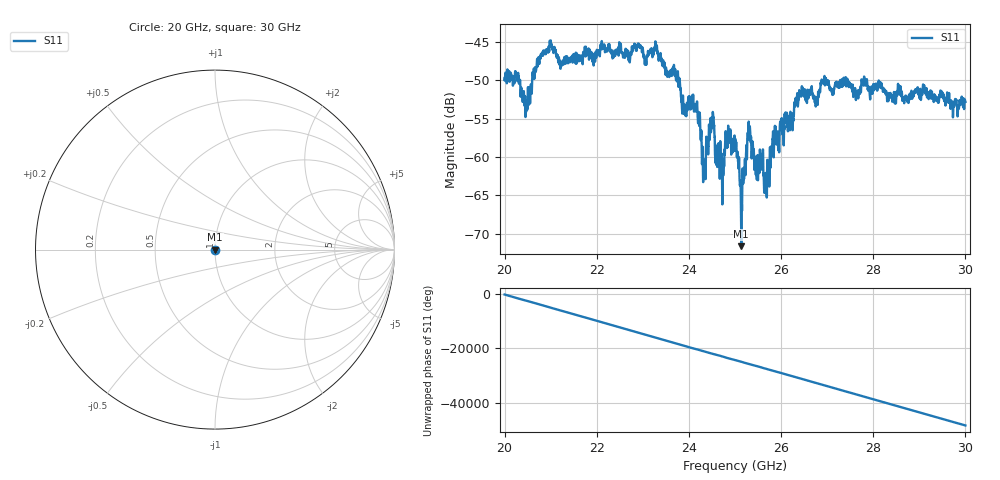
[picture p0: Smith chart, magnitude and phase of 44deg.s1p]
#  HZ  S  RI  R  50.00
! Rohde & Schwarz ZVA40 4Ports - Version 3.90 - 1145.1110k42 SN: 100403
! Date: 2023-10-03 11:55:05
! Measurement: S12
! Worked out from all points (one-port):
!   5001 points, 20 GHz to 30 GHz, reference 50 ohm
!   lowest |S11| = -71.6 dB at 25.14 GHz (marker M1), VSWR 1.00, Z = 50 - j0.0263 ohm
!   |S11| at or under -10 dB: start of sweep to end of sweep
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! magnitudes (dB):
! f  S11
! 20 GHz  -50.0
! 20.27 GHz  -49.5
! 20.48 GHz  -53.0
! 20.83 GHz  -46.8
! 21.02 GHz  -45.4
! 21.25 GHz  -47.8
! 22.5 GHz  -45.8
! 22.93 GHz  -45.5
! 23.06 GHz  -47.9
! 23.28 GHz  -45.5
! 23.75 GHz  -50.2
! 23.9 GHz  -53.5
! 24.19 GHz  -55.0
! 24.32 GHz  -60.8
! 24.5 GHz  -56.3
! 24.71 GHz  -60.0
! 24.84 GHz  -58.5
! 25 GHz  -59.1
! 25.14 GHz  -71.6
! 25.18 GHz  -63.3
! 25.3 GHz  -55.4
! 25.68 GHz  -63.1
! 25.84 GHz  -59.3
! 26.25 GHz  -56.4
! 26.44 GHz  -51.8
! 27.5 GHz  -50.4
! 28.75 GHz  -52.4
! 30 GHz  -52.8
